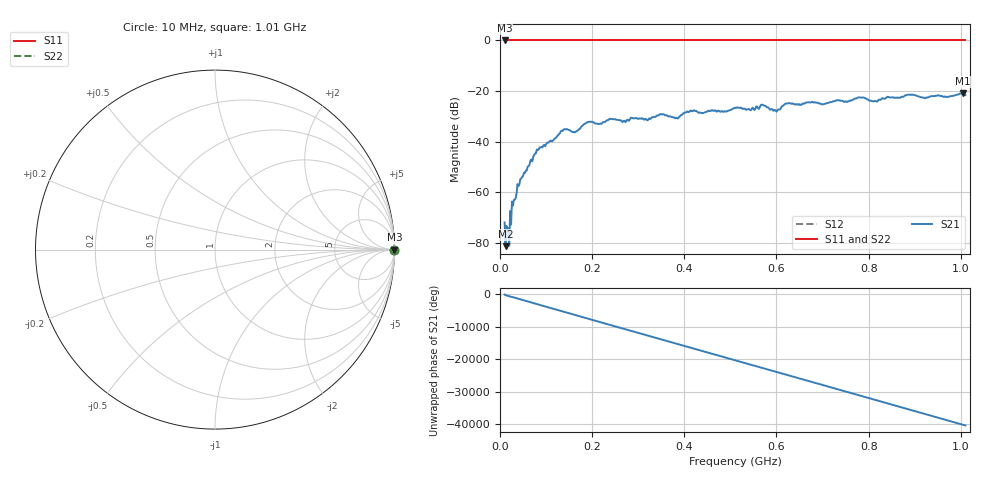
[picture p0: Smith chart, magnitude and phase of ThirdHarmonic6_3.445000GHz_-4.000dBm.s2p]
! 8/17/2025 11:06:48 AM
! C:\ANRITSUVNA\TEMP\TEMP.S2P
! CHANNEL.1
! TR.MEASUREMENT
! RAW.DATA
! RF.CORRECTION.OFF
! AVERAGING.OFF
! IF.BANDWIDTH: 5KHZ
! SWEEPTYPE:  FREQ.SWEEP(Linear)
! Reference Plane Port Info
! PORT:  PORT1  PORT2
! DISTANCE:  0  m  0  m
! TIME:  0  s  0  s
! PHASE.OFFSET:  0  deg.  0  deg.
! LOSS:  0  dB  0  dB
! REF.LOSS:  0  dB  0  dB
! REF.FREQ:  0  Hz  0  Hz
! Power Info
! POWER:  -20  dBm  -20  dBm
! EFF.POWER:  -20  dBm  -20  dBm
! SOURCE.ATTEN:  0  dB  0  dB
! TEST.ATTEN:  0  dB  0  dB
# GHZ S RI R 50.0
! FREQ.GHZ  S11RE  S11IM  S21RE  S21IM  S12RE  S12IM  S22RE  S22IM
!; PortSelection: Port_12
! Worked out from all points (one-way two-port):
!   501 points, 10 MHz to 1.01 GHz, reference 50 ohm
!   highest |S21| = -20.93 dB at 1.004 GHz (marker M1); lowest = -81.3 dB at 12 MHz (marker M2)
!   lowest |S11| = 0.0 dB at 10 MHz (marker M3)
!   |S11| at or under -10 dB: nowhere
!   |S22| runs from 0.0 to 0.0 dB; largest |S21 - S12| = 1.1
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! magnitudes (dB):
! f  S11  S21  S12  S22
! 10 MHz  0.0  -71.9  0.0  0.0
! 12 MHz  0.0  -81.3  0.0  0.0
! 16 MHz  0.0  -74.9  0.0  0.0
! 20 MHz  0.0  -81.2  0.0  0.0
! 26 MHz  0.0  -63.7  0.0  0.0
! 42 MHz  0.0  -56.9  0.0  0.0
! 78 MHz  0.0  -44.6  0.0  0.0
! 136 MHz  0.0  -35.7  0.0  0.0
! 162 MHz  0.0  -36.4  0.0  0.0
! 178 MHz  0.0  -33.9  0.0  0.0
! 194 MHz  0.0  -32.2  0.0  0.0
! 344 MHz  0.0  -29.6  0.0  0.0
! 384 MHz  0.0  -30.6  0.0  0.0
! 416 MHz  0.0  -27.9  0.0  0.0
! 510 MHz  0.0  -26.6  0.0  0.0
! 570 MHz  0.0  -25.4  0.0  0.0
! 598 MHz  0.0  -27.6  0.0  0.0
! 624 MHz  0.0  -24.9  0.0  0.0
! 678 MHz  0.0  -24.3  0.0  0.0
! 844 MHz  0.0  -22.4  0.0  0.0
! 1.004 GHz  0.0  -20.9  0.0  0.0
! 1.01 GHz  0.0  -21.6  0.0  0.0
